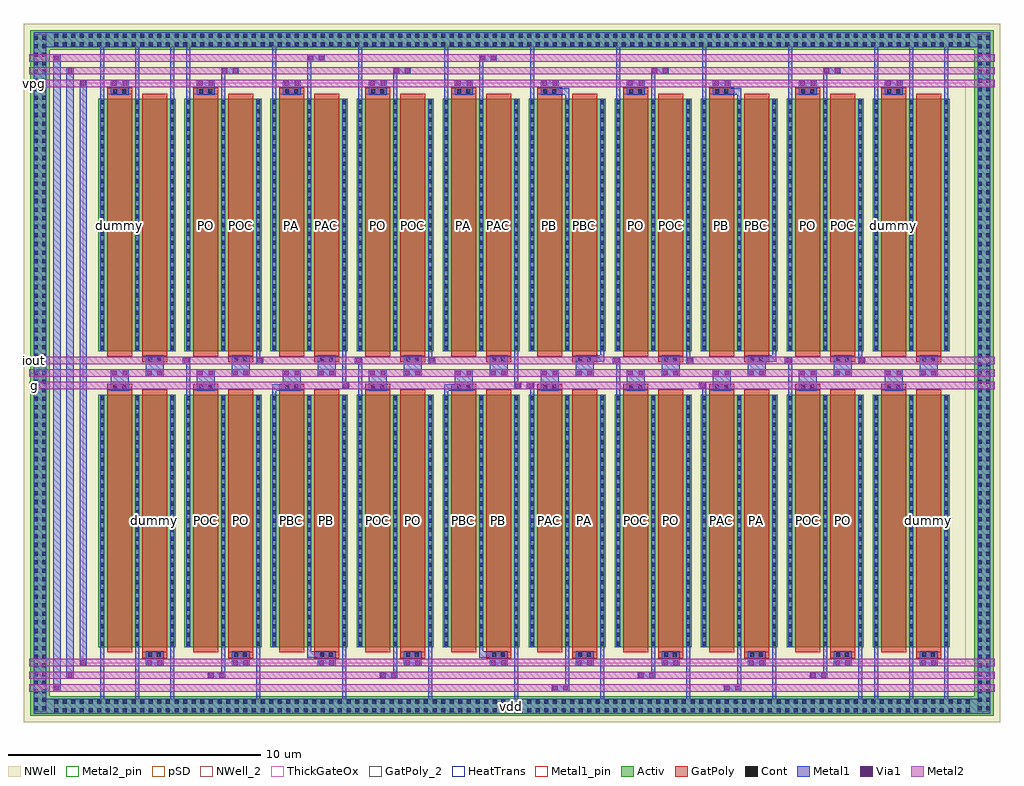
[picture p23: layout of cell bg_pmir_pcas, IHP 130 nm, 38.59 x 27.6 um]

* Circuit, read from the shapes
.subckt bg_pmir_pcas g iout vdd vpc vpg
XM1 vdd vpc vdd vdd sg13_hv_pmos w=10u l=1u m=4
XM2 vdd vpg vdd vdd sg13_hv_pmos w=10u l=1u m=4
XM3 n1 vpc iout vdd sg13_hv_pmos w=10u l=1u m=8
XM4 n1 vpg vdd vdd sg13_hv_pmos w=10u l=1u m=8
XM5 vpg vpc vpc vdd sg13_hv_pmos w=10u l=1u m=4
XM6 n2 vpg vdd vdd sg13_hv_pmos w=10u l=1u m=4
XM7 vdd vpg vpg vdd sg13_hv_pmos w=10u l=1u m=4
XM8 g vpc n2 vdd sg13_hv_pmos w=10u l=1u m=4
.ends

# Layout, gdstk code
import gdstk
lib = gdstk.Library(unit=1e-6, precision=1e-09)
def R(c, l, rs):  # rectangles x0, y0, x1, y1
    for r in rs: c.add(gdstk.rectangle(r[:2], r[2:], *l))
def A(c, l, x, y, w, h, nx, ny, dx, dy):  # array of equal rectangles
    R(c, l, [(x+i*dx, y+j*dy, x+i*dx+w, y+j*dy+h) for i in range(nx) for j in range(ny)])
Activ = (1, 0)
GatPoly = (5, 0)
GatPoly_2 = (5, 2)
Cont = (6, 0)
Metal1 = (8, 0)
Metal1_pin = (8, 2)
Metal2 = (10, 0)
Metal2_pin = (10, 2)
pSD = (14, 0)
Via1 = (19, 0)
NWell = (31, 0)
NWell_2 = (31, 2)
ThickGateOx = (44, 0)
HeatTrans = (51, 0)

pmoshv_14 = lib.new_cell('pmosHV$14')
R(pmoshv_14, Activ, [(0,0,0.3,0.3), (0,0,1.68,10), (1.38,0,1.68,0.3)])
R(pmoshv_14, GatPoly, [(0.34,-0.18,1.34,10.18)])
R(pmoshv_14, GatPoly_2, [(0.34,-0.18,1.34,10.18)])
A(pmoshv_14, Cont, 0.07, 0.07, 0.16, 0.16, 1, 4, 0, 0.345)
A(pmoshv_14, Cont, 1.45, 0.07, 0.16, 0.16, 1, 4, 0, 0.345)
A(pmoshv_14, Cont, 0.07, 1.455, 0.16, 0.16, 1, 3, 0, 0.345)
A(pmoshv_14, Cont, 1.45, 1.455, 0.16, 0.16, 1, 3, 0, 0.345)
A(pmoshv_14, Cont, 0.07, 2.495, 0.16, 0.16, 1, 4, 0, 0.345)
A(pmoshv_14, Cont, 1.45, 2.495, 0.16, 0.16, 1, 4, 0, 0.345)
A(pmoshv_14, Cont, 0.07, 3.88, 0.16, 0.16, 1, 3, 0, 0.345)
A(pmoshv_14, Cont, 1.45, 3.88, 0.16, 0.16, 1, 3, 0, 0.345)
A(pmoshv_14, Cont, 0.07, 4.92, 0.16, 0.16, 1, 4, 0, 0.345)
A(pmoshv_14, Cont, 1.45, 4.92, 0.16, 0.16, 1, 4, 0, 0.345)
A(pmoshv_14, Cont, 0.07, 6.305, 0.16, 0.16, 1, 3, 0, 0.345)
A(pmoshv_14, Cont, 1.45, 6.305, 0.16, 0.16, 1, 3, 0, 0.345)
A(pmoshv_14, Cont, 0.07, 7.345, 0.16, 0.16, 1, 4, 0, 0.345)
A(pmoshv_14, Cont, 1.45, 7.345, 0.16, 0.16, 1, 4, 0, 0.345)
A(pmoshv_14, Cont, 0.07, 8.73, 0.16, 0.16, 1, 3, 0, 0.345)
A(pmoshv_14, Cont, 1.45, 8.73, 0.16, 0.16, 1, 3, 0, 0.345)
R(pmoshv_14, Cont, [(0.07,9.77,0.23,9.93), (1.45,9.77,1.61,9.93)])
R(pmoshv_14, Metal1, [(0.07,0,0.23,10), (1.45,0,1.61,10)])
R(pmoshv_14, Metal1_pin, [(0.07,0,0.23,10), (1.45,0,1.61,10)])
R(pmoshv_14, pSD, [(-0.18,-0.4,1.86,10.4)])
R(pmoshv_14, NWell, [(-0.62,-0.62,2.3,10.62)])
R(pmoshv_14, ThickGateOx, [(-0.62,-0.62,2.3,10.62)])
R(pmoshv_14, HeatTrans, [(0.34,-0.18,1.34,10.18)])
pmoshv_14.add(gdstk.Label('pmosHV', (0.84,5), layer=63, texttype=0))
pmoshv_14.add(gdstk.Label('pmos', (0.84,5), layer=51, texttype=0))

ntap1_30 = lib.new_cell('ntap1$30')
R(ntap1_30, Activ, [(0,0,0.78,27.12)])
A(ntap1_30, Cont, 0.14, 0.22, 0.16, 0.16, 1, 79, 0, 0.34)
A(ntap1_30, Cont, 0.48, 0.22, 0.16, 0.16, 1, 79, 0, 0.34)
R(ntap1_30, Metal1, [(0.14,0.17,0.64,26.95)])
R(ntap1_30, Metal1_pin, [(0.14,0.17,0.64,26.95), (0.14,0.22,0.64,26.9)])
R(ntap1_30, NWell, [(-0.24,-0.24,1.02,27.36), (0,0,0.78,27.12)])
R(ntap1_30, NWell_2, [(0,0,0.78,27.12)])
ntap1_30.add(gdstk.Label('well', (0.39,0.01), layer=63, texttype=0))
ntap1_30.add(gdstk.Label('well', (0.39,0.01), layer=31, texttype=0))

ntap1_31 = lib.new_cell('ntap1$31')
R(ntap1_31, Activ, [(0,0,36.545,0.78)])
A(ntap1_31, Cont, 0.17, 0.14, 0.16, 0.16, 107, 2, 0.34, 0.34)
R(ntap1_31, Metal1, [(0.17,0.09,36.37,0.69)])
R(ntap1_31, Metal1_pin, [(0.17,0.09,36.37,0.69), (0.17,0.14,36.37,0.64)])
R(ntap1_31, NWell, [(-0.24,-0.24,36.785,1.02), (0,0,36.545,0.78)])
R(ntap1_31, NWell_2, [(0,0,36.545,0.78)])
ntap1_31.add(gdstk.Label('well', (18.273,0.01), layer=63, texttype=0))
ntap1_31.add(gdstk.Label('well', (18.273,0.01), layer=31, texttype=0))

bg_pmir_pcas = lib.new_cell('bg_pmir_pcas')
A(bg_pmir_pcas, GatPoly, 1.72, -0.43, 1, 0.33, 10, 2, 3.4, 11.7)
A(bg_pmir_pcas, GatPoly, 0.34, 10.1, 1, 0.33, 10, 2, 3.4, 11.7)
R(bg_pmir_pcas, Cont, [(1.97,-0.36,2.13,-0.2), (2.31,-0.36,2.47,-0.2), (5.37,-0.36,5.53,-0.2), (5.71,-0.36,5.87,-0.2), (8.77,-0.36,8.93,-0.2), (9.11,-0.36,9.27,-0.2), (12.17,-0.36,12.33,-0.2), (12.51,-0.36,12.67,-0.2), (15.57,-0.36,15.73,-0.2), (15.91,-0.36,16.07,-0.2), (18.97,-0.36,19.13,-0.2), (19.31,-0.36,19.47,-0.2), (22.37,-0.36,22.53,-0.2), (22.71,-0.36,22.87,-0.2), (25.77,-0.36,25.93,-0.2), (26.11,-0.36,26.27,-0.2), (29.17,-0.36,29.33,-0.2), (29.51,-0.36,29.67,-0.2), (32.57,-0.36,32.73,-0.2), (32.91,-0.36,33.07,-0.2), (0.59,10.2,0.75,10.36), (0.93,10.2,1.09,10.36), (3.99,10.2,4.15,10.36), (4.33,10.2,4.49,10.36), (7.39,10.2,7.55,10.36), (7.73,10.2,7.89,10.36), (10.79,10.2,10.95,10.36), (11.13,10.2,11.29,10.36), (14.19,10.2,14.35,10.36), (14.53,10.2,14.69,10.36), (17.59,10.2,17.75,10.36), (17.93,10.2,18.09,10.36), (20.99,10.2,21.15,10.36), (21.33,10.2,21.49,10.36), (24.39,10.2,24.55,10.36), (24.73,10.2,24.89,10.36), (27.79,10.2,27.95,10.36), (28.13,10.2,28.29,10.36), (31.19,10.2,31.35,10.36), (31.53,10.2,31.69,10.36), (1.97,11.34,2.13,11.5), (2.31,11.34,2.47,11.5), (5.37,11.34,5.53,11.5), (5.71,11.34,5.87,11.5), (8.77,11.34,8.93,11.5), (9.11,11.34,9.27,11.5), (12.17,11.34,12.33,11.5), (12.51,11.34,12.67,11.5), (15.57,11.34,15.73,11.5), (15.91,11.34,16.07,11.5), (18.97,11.34,19.13,11.5), (19.31,11.34,19.47,11.5), (22.37,11.34,22.53,11.5), (22.71,11.34,22.87,11.5), (25.77,11.34,25.93,11.5), (26.11,11.34,26.27,11.5), (29.17,11.34,29.33,11.5), (29.51,11.34,29.67,11.5), (32.57,11.34,32.73,11.5), (32.91,11.34,33.07,11.5), (0.59,21.9,0.75,22.06), (0.93,21.9,1.09,22.06), (3.99,21.9,4.15,22.06), (4.33,21.9,4.49,22.06), (7.39,21.9,7.55,22.06), (7.73,21.9,7.89,22.06), (10.79,21.9,10.95,22.06), (11.13,21.9,11.29,22.06), (14.19,21.9,14.35,22.06), (14.53,21.9,14.69,22.06), (17.59,21.9,17.75,22.06), (17.93,21.9,18.09,22.06), (20.99,21.9,21.15,22.06), (21.33,21.9,21.49,22.06), (24.39,21.9,24.55,22.06), (24.73,21.9,24.89,22.06), (27.79,21.9,27.95,22.06), (28.13,21.9,28.29,22.06), (31.19,21.9,31.35,22.06), (31.53,21.9,31.69,22.06)])
A(bg_pmir_pcas, Metal1, 0.07, -2.13, 0.16, 2.23, 3, 2, 1.38, 23.73)
A(bg_pmir_pcas, Metal1, 6.23, -2.13, 0.16, 2.23, 8, 1, 3.4, 0)
A(bg_pmir_pcas, Metal1, 30.67, -2.13, 0.16, 2.23, 3, 1, 1.38, 0)
A(bg_pmir_pcas, Metal1, 1.87, -0.745, 0.7, 0.595, 10, 1, 3.4, 0)
A(bg_pmir_pcas, Metal1, 0.49, 10.15, 0.7, 0.845, 10, 1, 3.4, 0)
A(bg_pmir_pcas, Metal1, 1.87, 10.705, 0.7, 0.845, 10, 1, 3.4, 0)
A(bg_pmir_pcas, Metal1, 3.47, 21.6, 0.16, 2.23, 9, 1, 3.4, 0)
A(bg_pmir_pcas, Metal1, 0.49, 21.85, 0.7, 0.595, 10, 1, 3.4, 0)
R(bg_pmir_pcas, Metal1, [(-2.565,-2.62,35.26,-2.54), (-2.165,-2.62,-1.655,-2.02), (34.345,-2.62,34.86,-2.02), (-1.79,-1.745,-1.5,23.445), (17.91,-1.745,18.61,-1.455), (18.45,-1.745,18.61,0.1), (24.71,-1.745,25.41,-1.455), (25.25,-1.745,25.41,0.1), (-1.27,-1.245,-0.98,22.945), (4.31,-1.245,5.01,-0.955), (4.85,-1.245,5.01,0.1), (11.11,-1.245,11.81,-0.955), (11.65,-1.245,11.81,0.1), (21.31,-1.245,22.01,-0.955), (21.85,-1.245,22.01,0.1), (28.11,-1.245,28.81,-0.955), (28.65,-1.245,28.81,0.1), (-0.75,-0.745,-0.46,22.445), (8.25,-0.41,8.41,0.1), (8.25,-0.41,8.76,-0.15), (15.05,-0.41,15.21,0.1), (15.05,-0.41,15.56,-0.15), (3.47,9.9,3.63,11.495), (6.87,9.9,7.03,10.41), (10.27,9.9,10.43,11.495), (13.67,9.9,13.83,10.41), (17.07,9.9,17.23,10.495), (20.47,9.9,20.63,11.495), (23.87,9.9,24.03,10.495), (27.27,9.9,27.43,11.495), (6.87,10.15,7.41,10.41), (13.67,10.15,14.21,10.41), (9.63,10.205,9.79,11.8), (9.63,10.205,9.92,10.495), (16.43,10.205,16.59,11.8), (16.43,10.205,16.72,10.495), (16.94,10.205,17.23,10.495), (23.74,10.205,24.03,10.495), (3.34,11.205,3.63,11.495), (6.23,11.205,6.39,11.8), (6.23,11.205,6.52,11.495), (10.14,11.205,10.43,11.495), (13.03,11.205,13.19,11.8), (13.03,11.205,13.32,11.495), (20.34,11.205,20.63,11.495), (23.23,11.205,23.39,11.8), (23.23,11.205,23.52,11.495), (27.14,11.205,27.43,11.495), (30.03,11.205,30.19,11.8), (30.03,11.205,30.32,11.495), (19.45,11.29,19.99,11.55), (19.83,11.29,19.99,11.8), (26.25,11.29,26.79,11.55), (26.63,11.29,26.79,11.8), (4.85,21.6,5.01,22.945), (8.25,21.6,8.41,23.445), (11.65,21.6,11.81,22.945), (15.05,21.6,15.21,23.445), (18.45,21.6,18.61,22.11), (21.85,21.6,22.01,22.945), (25.25,21.6,25.41,22.11), (28.65,21.6,28.81,22.945), (32.05,21.6,32.21,23.83), (33.43,21.6,33.59,23.83), (18.1,21.85,18.61,22.11), (24.9,21.85,25.41,22.11), (4.85,22.655,5.55,22.945), (11.65,22.655,12.35,22.945), (21.85,22.655,22.55,22.945), (28.65,22.655,29.35,22.945), (8.25,23.155,8.95,23.445), (15.05,23.155,15.75,23.445), (-2.165,23.72,-1.655,24.32), (34.345,23.72,34.86,24.32), (-2.565,24.24,35.26,24.32)])
R(bg_pmir_pcas, Metal1_pin, [(-1.755,-2.62,34.445,-2.02)])
A(bg_pmir_pcas, Metal2_pin, -2.735, 10.205, 0.4, 0.29, 1, 3, 0, 0.5)
R(bg_pmir_pcas, Metal2_pin, [(-2.735,22.155,-2.335,22.445)])
R(bg_pmir_pcas, pSD, [(-0.62,-0.62,34.28,22.32)])
R(bg_pmir_pcas, Via1, [(-1.74,-1.695,-1.55,-1.505), (17.96,-1.695,18.15,-1.505), (18.37,-1.695,18.56,-1.505), (24.76,-1.695,24.95,-1.505), (25.17,-1.695,25.36,-1.505), (-1.22,-1.195,-1.03,-1.005), (4.36,-1.195,4.55,-1.005), (4.77,-1.195,4.96,-1.005), (11.16,-1.195,11.35,-1.005), (11.57,-1.195,11.76,-1.005), (21.36,-1.195,21.55,-1.005), (21.77,-1.195,21.96,-1.005), (28.16,-1.195,28.35,-1.005), (28.57,-1.195,28.76,-1.005), (-0.7,-0.695,-0.51,-0.505), (1.92,-0.695,2.11,-0.505), (2.33,-0.695,2.52,-0.505), (5.32,-0.695,5.51,-0.505), (5.73,-0.695,5.92,-0.505), (8.72,-0.695,8.91,-0.505), (9.13,-0.695,9.32,-0.505), (12.12,-0.695,12.31,-0.505), (12.53,-0.695,12.72,-0.505), (15.52,-0.695,15.71,-0.505), (15.93,-0.695,16.12,-0.505), (18.92,-0.695,19.11,-0.505), (19.33,-0.695,19.52,-0.505), (22.32,-0.695,22.51,-0.505), (22.73,-0.695,22.92,-0.505), (25.72,-0.695,25.91,-0.505), (26.13,-0.695,26.32,-0.505), (29.12,-0.695,29.31,-0.505), (29.53,-0.695,29.72,-0.505), (32.52,-0.695,32.71,-0.505), (32.93,-0.695,33.12,-0.505), (9.68,10.255,9.87,10.445), (16.48,10.255,16.67,10.445), (16.99,10.255,17.18,10.445), (23.79,10.255,23.98,10.445), (0.54,10.755,0.73,10.945), (0.95,10.755,1.14,10.945), (1.92,10.755,2.11,10.945), (2.33,10.755,2.52,10.945), (3.94,10.755,4.13,10.945), (4.35,10.755,4.54,10.945), (5.32,10.755,5.51,10.945), (5.73,10.755,5.92,10.945), (7.34,10.755,7.53,10.945), (7.75,10.755,7.94,10.945), (8.72,10.755,8.91,10.945), (9.13,10.755,9.32,10.945), (10.74,10.755,10.93,10.945), (11.15,10.755,11.34,10.945), (12.12,10.755,12.31,10.945), (12.53,10.755,12.72,10.945), (14.14,10.755,14.33,10.945), (14.55,10.755,14.74,10.945), (15.52,10.755,15.71,10.945), (15.93,10.755,16.12,10.945), (17.54,10.755,17.73,10.945), (17.95,10.755,18.14,10.945), (18.92,10.755,19.11,10.945), (19.33,10.755,19.52,10.945), (20.94,10.755,21.13,10.945), (21.35,10.755,21.54,10.945), (22.32,10.755,22.51,10.945), (22.73,10.755,22.92,10.945), (24.34,10.755,24.53,10.945), (24.75,10.755,24.94,10.945), (25.72,10.755,25.91,10.945), (26.13,10.755,26.32,10.945), (27.74,10.755,27.93,10.945), (28.15,10.755,28.34,10.945), (29.12,10.755,29.31,10.945), (29.53,10.755,29.72,10.945), (31.14,10.755,31.33,10.945), (31.55,10.755,31.74,10.945), (32.52,10.755,32.71,10.945), (32.93,10.755,33.12,10.945), (3.39,11.255,3.58,11.445), (6.28,11.255,6.47,11.445), (10.19,11.255,10.38,11.445), (13.08,11.255,13.27,11.445), (20.39,11.255,20.58,11.445), (23.28,11.255,23.47,11.445), (27.19,11.255,27.38,11.445), (30.08,11.255,30.27,11.445), (-0.7,22.205,-0.51,22.395), (0.54,22.205,0.73,22.395), (0.95,22.205,1.14,22.395), (3.94,22.205,4.13,22.395), (4.35,22.205,4.54,22.395), (7.34,22.205,7.53,22.395), (7.75,22.205,7.94,22.395), (10.74,22.205,10.93,22.395), (11.15,22.205,11.34,22.395), (14.14,22.205,14.33,22.395), (14.55,22.205,14.74,22.395), (17.54,22.205,17.73,22.395), (17.95,22.205,18.14,22.395), (20.94,22.205,21.13,22.395), (21.35,22.205,21.54,22.395), (24.34,22.205,24.53,22.395), (24.75,22.205,24.94,22.395), (27.74,22.205,27.93,22.395), (28.15,22.205,28.34,22.395), (31.14,22.205,31.33,22.395), (31.55,22.205,31.74,22.395), (-1.22,22.705,-1.03,22.895), (4.9,22.705,5.09,22.895), (5.31,22.705,5.5,22.895), (11.7,22.705,11.89,22.895), (12.11,22.705,12.3,22.895), (21.9,22.705,22.09,22.895), (22.31,22.705,22.5,22.895), (28.7,22.705,28.89,22.895), (29.11,22.705,29.3,22.895), (-1.74,23.205,-1.55,23.395), (8.3,23.205,8.49,23.395), (8.71,23.205,8.9,23.395), (15.1,23.205,15.29,23.395), (15.51,23.205,15.7,23.395)])
R(bg_pmir_pcas, NWell, [(-2.945,-2.95,35.64,24.65)])
R(bg_pmir_pcas, ThickGateOx, [(-0.62,-0.62,34.28,22.32)])
bg_pmir_pcas.add(gdstk.FlexPath([(-2.59,11.35),(35.285,11.35)], 0.29, ends="extended", simple_path=True, layer=10, datatype=0))  # Metal2
bg_pmir_pcas.add(gdstk.FlexPath([(-2.59,10.85),(35.285,10.85)], 0.29, ends="extended", simple_path=True, layer=10, datatype=0))  # Metal2
bg_pmir_pcas.add(gdstk.FlexPath([(-2.59,10.35),(35.285,10.35)], 0.29, ends="extended", simple_path=True, layer=10, datatype=0))  # Metal2
bg_pmir_pcas.add(gdstk.FlexPath([(-2.59,22.3),(35.285,22.3)], 0.29, ends="extended", simple_path=True, layer=10, datatype=0))  # Metal2
bg_pmir_pcas.add(gdstk.FlexPath([(-2.59,-0.6),(35.285,-0.6)], 0.29, ends="extended", simple_path=True, layer=10, datatype=0))  # Metal2
bg_pmir_pcas.add(gdstk.FlexPath([(-2.59,22.8),(35.285,22.8)], 0.29, ends="extended", simple_path=True, layer=10, datatype=0))  # Metal2
bg_pmir_pcas.add(gdstk.FlexPath([(-2.59,-1.1),(35.285,-1.1)], 0.29, ends="extended", simple_path=True, layer=10, datatype=0))  # Metal2
bg_pmir_pcas.add(gdstk.FlexPath([(-2.59,23.3),(35.285,23.3)], 0.29, ends="extended", simple_path=True, layer=10, datatype=0))  # Metal2
bg_pmir_pcas.add(gdstk.FlexPath([(-2.59,-1.6),(35.285,-1.6)], 0.29, ends="extended", simple_path=True, layer=10, datatype=0))  # Metal2
bg_pmir_pcas.add(gdstk.Reference(pmoshv_14, (0,11.7)))
bg_pmir_pcas.add(gdstk.Reference(pmoshv_14, (1.38,11.7)))
bg_pmir_pcas.add(gdstk.Reference(pmoshv_14, (3.4,11.7)))
bg_pmir_pcas.add(gdstk.Reference(pmoshv_14, (4.78,11.7)))
bg_pmir_pcas.add(gdstk.Reference(pmoshv_14, (6.8,11.7)))
bg_pmir_pcas.add(gdstk.Reference(pmoshv_14, (8.18,11.7)))
bg_pmir_pcas.add(gdstk.Reference(pmoshv_14, (10.2,11.7)))
bg_pmir_pcas.add(gdstk.Reference(pmoshv_14, (11.58,11.7)))
bg_pmir_pcas.add(gdstk.Reference(pmoshv_14, (13.6,11.7)))
bg_pmir_pcas.add(gdstk.Reference(pmoshv_14, (14.98,11.7)))
bg_pmir_pcas.add(gdstk.Reference(pmoshv_14, (17,11.7)))
bg_pmir_pcas.add(gdstk.Reference(pmoshv_14, (18.38,11.7)))
bg_pmir_pcas.add(gdstk.Reference(pmoshv_14, (20.4,11.7)))
bg_pmir_pcas.add(gdstk.Reference(pmoshv_14, (21.78,11.7)))
bg_pmir_pcas.add(gdstk.Reference(pmoshv_14, (23.8,11.7)))
bg_pmir_pcas.add(gdstk.Reference(pmoshv_14, (25.18,11.7)))
bg_pmir_pcas.add(gdstk.Reference(pmoshv_14, (27.2,11.7)))
bg_pmir_pcas.add(gdstk.Reference(pmoshv_14, (28.58,11.7)))
bg_pmir_pcas.add(gdstk.Reference(pmoshv_14, (30.6,11.7)))
bg_pmir_pcas.add(gdstk.Reference(pmoshv_14, (31.98,11.7)))
bg_pmir_pcas.add(gdstk.Reference(pmoshv_14, (31.98,0)))
bg_pmir_pcas.add(gdstk.Reference(pmoshv_14, (30.6,0)))
bg_pmir_pcas.add(gdstk.Reference(pmoshv_14, (28.58,0)))
bg_pmir_pcas.add(gdstk.Reference(pmoshv_14, (27.2,0)))
bg_pmir_pcas.add(gdstk.Reference(pmoshv_14, (25.18,0)))
bg_pmir_pcas.add(gdstk.Reference(pmoshv_14, (23.8,0)))
bg_pmir_pcas.add(gdstk.Reference(pmoshv_14, (21.78,0)))
bg_pmir_pcas.add(gdstk.Reference(pmoshv_14, (20.4,0)))
bg_pmir_pcas.add(gdstk.Reference(pmoshv_14, (18.38,0)))
bg_pmir_pcas.add(gdstk.Reference(pmoshv_14, (17,0)))
bg_pmir_pcas.add(gdstk.Reference(pmoshv_14, (14.98,0)))
bg_pmir_pcas.add(gdstk.Reference(pmoshv_14, (13.6,0)))
bg_pmir_pcas.add(gdstk.Reference(pmoshv_14, (11.58,0)))
bg_pmir_pcas.add(gdstk.Reference(pmoshv_14, (10.2,0)))
bg_pmir_pcas.add(gdstk.Reference(pmoshv_14, (8.18,0)))
bg_pmir_pcas.add(gdstk.Reference(pmoshv_14, (6.8,0)))
bg_pmir_pcas.add(gdstk.Reference(pmoshv_14, (4.78,0)))
bg_pmir_pcas.add(gdstk.Reference(pmoshv_14, (3.4,0)))
bg_pmir_pcas.add(gdstk.Reference(pmoshv_14, (1.38,0)))
bg_pmir_pcas.add(gdstk.Reference(pmoshv_14, (0,0)))
bg_pmir_pcas.add(gdstk.Reference(ntap1_30, (-2.705,-2.71)))
bg_pmir_pcas.add(gdstk.Reference(ntap1_30, (34.62,-2.71)))
bg_pmir_pcas.add(gdstk.Reference(ntap1_31, (-1.925,23.63)))
bg_pmir_pcas.add(gdstk.Reference(ntap1_31, (-1.925,-2.71)))
bg_pmir_pcas.add(gdstk.Label('dummy', (0.84,16.7), layer=63, texttype=0))
bg_pmir_pcas.add(gdstk.Label('dummy', (2.22,16.7), layer=63, texttype=0))
bg_pmir_pcas.add(gdstk.Label('PO', (4.24,16.7), layer=63, texttype=0))
bg_pmir_pcas.add(gdstk.Label('POC', (5.62,16.7), layer=63, texttype=0))
bg_pmir_pcas.add(gdstk.Label('PA', (7.64,16.7), layer=63, texttype=0))
bg_pmir_pcas.add(gdstk.Label('PAC', (9.02,16.7), layer=63, texttype=0))
bg_pmir_pcas.add(gdstk.Label('PO', (11.04,16.7), layer=63, texttype=0))
bg_pmir_pcas.add(gdstk.Label('POC', (12.42,16.7), layer=63, texttype=0))
bg_pmir_pcas.add(gdstk.Label('PA', (14.44,16.7), layer=63, texttype=0))
bg_pmir_pcas.add(gdstk.Label('PAC', (15.82,16.7), layer=63, texttype=0))
bg_pmir_pcas.add(gdstk.Label('PB', (17.84,16.7), layer=63, texttype=0))
bg_pmir_pcas.add(gdstk.Label('PBC', (19.22,16.7), layer=63, texttype=0))
bg_pmir_pcas.add(gdstk.Label('PO', (21.24,16.7), layer=63, texttype=0))
bg_pmir_pcas.add(gdstk.Label('POC', (22.62,16.7), layer=63, texttype=0))
bg_pmir_pcas.add(gdstk.Label('PB', (24.64,16.7), layer=63, texttype=0))
bg_pmir_pcas.add(gdstk.Label('PBC', (26.02,16.7), layer=63, texttype=0))
bg_pmir_pcas.add(gdstk.Label('PO', (28.04,16.7), layer=63, texttype=0))
bg_pmir_pcas.add(gdstk.Label('POC', (29.42,16.7), layer=63, texttype=0))
bg_pmir_pcas.add(gdstk.Label('dummy', (31.44,16.7), layer=63, texttype=0))
bg_pmir_pcas.add(gdstk.Label('dummy', (32.82,16.7), layer=63, texttype=0))
bg_pmir_pcas.add(gdstk.Label('dummy', (32.82,5), layer=63, texttype=0))
bg_pmir_pcas.add(gdstk.Label('dummy', (31.44,5), layer=63, texttype=0))
bg_pmir_pcas.add(gdstk.Label('PO', (29.42,5), layer=63, texttype=0))
bg_pmir_pcas.add(gdstk.Label('POC', (28.04,5), layer=63, texttype=0))
bg_pmir_pcas.add(gdstk.Label('PA', (26.02,5), layer=63, texttype=0))
bg_pmir_pcas.add(gdstk.Label('PAC', (24.64,5), layer=63, texttype=0))
bg_pmir_pcas.add(gdstk.Label('PO', (22.62,5), layer=63, texttype=0))
bg_pmir_pcas.add(gdstk.Label('POC', (21.24,5), layer=63, texttype=0))
bg_pmir_pcas.add(gdstk.Label('PA', (19.22,5), layer=63, texttype=0))
bg_pmir_pcas.add(gdstk.Label('PAC', (17.84,5), layer=63, texttype=0))
bg_pmir_pcas.add(gdstk.Label('PB', (15.82,5), layer=63, texttype=0))
bg_pmir_pcas.add(gdstk.Label('PBC', (14.44,5), layer=63, texttype=0))
bg_pmir_pcas.add(gdstk.Label('PO', (12.42,5), layer=63, texttype=0))
bg_pmir_pcas.add(gdstk.Label('POC', (11.04,5), layer=63, texttype=0))
bg_pmir_pcas.add(gdstk.Label('PB', (9.02,5), layer=63, texttype=0))
bg_pmir_pcas.add(gdstk.Label('PBC', (7.64,5), layer=63, texttype=0))
bg_pmir_pcas.add(gdstk.Label('PO', (5.62,5), layer=63, texttype=0))
bg_pmir_pcas.add(gdstk.Label('POC', (4.24,5), layer=63, texttype=0))
bg_pmir_pcas.add(gdstk.Label('dummy', (2.22,5), layer=63, texttype=0))
bg_pmir_pcas.add(gdstk.Label('dummy', (0.84,5), layer=63, texttype=0))
bg_pmir_pcas.add(gdstk.Label('vdd', (16.345,-2.32), layer=8, texttype=25))
bg_pmir_pcas.add(gdstk.Label('iout', (-2.535,11.35), layer=10, texttype=25))
bg_pmir_pcas.add(gdstk.Label('vpc', (-2.535,10.85), layer=10, texttype=25))
bg_pmir_pcas.add(gdstk.Label('g', (-2.535,10.35), layer=10, texttype=25))
bg_pmir_pcas.add(gdstk.Label('vpg', (-2.535,22.3), layer=10, texttype=25))

lib.write_gds('bg_pmir_pcas.gds')
